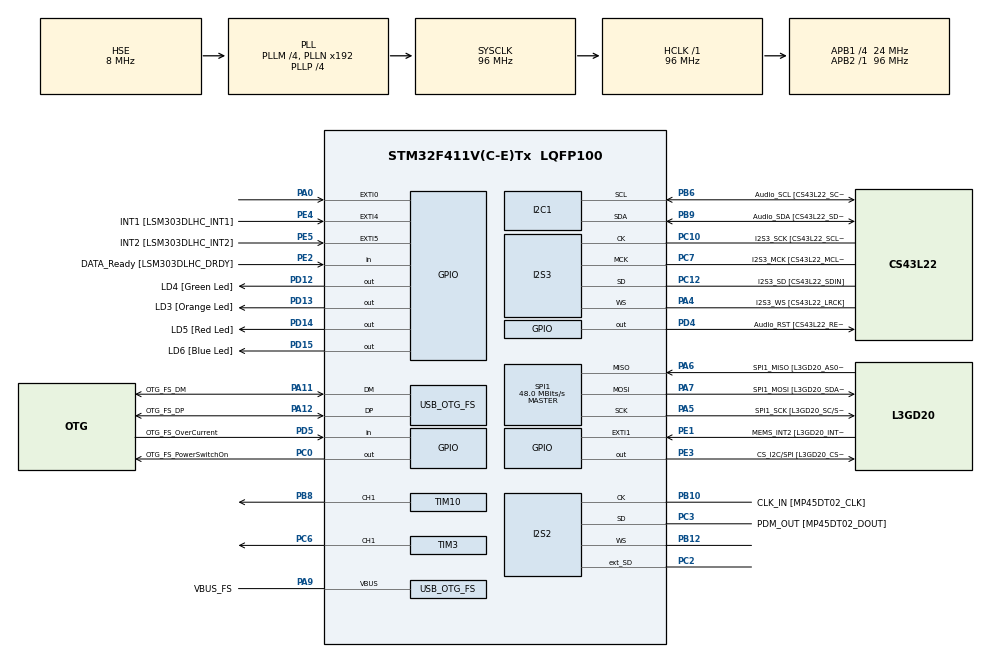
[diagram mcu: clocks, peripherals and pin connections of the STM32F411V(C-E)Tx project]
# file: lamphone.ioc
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I2S2.AudioFreq=I2S_AUDIOFREQ_96K
I2S2.ErrorAudioFreq=0.15 %
I2S2.FullDuplexMode=I2S_FULLDUPLEXMODE_ENABLE
I2S2.Instance=SPI$Index
I2S2.RealAudioFreq=96.153 KHz
I2S2.VirtualMode=I2S_MODE_MASTER
I2S3.AudioFreq=I2S_AUDIOFREQ_96K
I2S3.ErrorAudioFreq=-6.99 %
I2S3.FullDuplexMode=I2S_FULLDUPLEXMODE_DISABLE
I2S3.Instance=SPI$Index
I2S3.RealAudioFreq=89.285 KHz
I2S3.VirtualMode=I2S_MODE_MASTER
Mcu.Family=STM32F4
Mcu.Name=STM32F411V(C-E)Tx
Mcu.Package=LQFP100
NVIC.OTG_FS_IRQn=true\:0\:0\:false\:false\:true\:true\:true
NVIC.PriorityGroup=NVIC_PRIORITYGROUP_0
NVIC.TIM1_UP_TIM10_IRQn=true\:0\:0\:false\:false\:true\:true\:true
NVIC.TIM3_IRQn=true\:0\:0\:false\:false\:true\:true\:true
PA0-WKUP.GPIO_ModeDefaultEXTI=GPIO_MODE_EVT_RISING
PA0-WKUP.Signal=GPXTI0
PA10.GPIO_Label=OTG_FS_ID
PA10.Signal=USB_OTG_FS_ID
PA11.GPIO_Label=OTG_FS_DM
PA11.Mode=Host_Only
PA11.Signal=USB_OTG_FS_DM
PA12.GPIO_Label=OTG_FS_DP
PA12.Mode=Host_Only
PA12.Signal=USB_OTG_FS_DP
PA13.GPIO_Label=SWDIO
PA13.Mode=Serial_Wire
PA13.Signal=SYS_JTMS-SWDIO
PA14.GPIO_Label=SWCLK
PA14.Mode=Serial_Wire
PA14.Signal=SYS_JTCK-SWCLK
PA4.GPIO_Label=I2S3_WS [CS43L22_LRCK]
PA4.GPIO_Mode=GPIO_MODE_AF_PP
PA4.GPIO_PuPd=GPIO_NOPULL
PA4.GPIO_Speed=GPIO_SPEED_FREQ_LOW
PA4.Mode=Half_Duplex_Master
PA4.Signal=I2S3_WS
PA5.GPIO_Label=SPI1_SCK [L3GD20_SC/SPC]
PA5.Mode=Full_Duplex_Master
PA5.Signal=SPI1_SCK
PA6.GPIO_Label=SPI1_MISO [L3GD20_AS0/SDO]
PA6.Mode=Full_Duplex_Master
PA6.Signal=SPI1_MISO
PA7.GPIO_Label=SPI1_MOSI [L3GD20_SDA/SDI/SDO]
PA7.Mode=Full_Duplex_Master
PA7.Signal=SPI1_MOSI
PA9.GPIO_Label=VBUS_FS
PA9.Mode=Activate_VBUS
PA9.Signal=USB_OTG_FS_VBUS
PB10.GPIO_Label=CLK_IN [MP45DT02_CLK]
PB10.Mode=Full_Duplex_Master
PB10.Signal=I2S2_CK
PB12.Mode=Full_Duplex_Master
PB12.Signal=I2S2_WS
PB3.GPIO_Label=SWO
PB3.Signal=SYS_JTDO-SWO
PB6.GPIO_Label=Audio_SCL [CS43L22_SCL]
PB6.GPIO_Mode=GPIO_MODE_AF_OD
PB6.GPIO_PuPd=GPIO_NOPULL
PB6.GPIO_Speed=GPIO_SPEED_FREQ_LOW
PB6.Mode=I2C
PB6.Signal=I2C1_SCL
PB8.Signal=S_TIM10_CH1
PB9.GPIO_Label=Audio_SDA [CS43L22_SDA]
PB9.GPIO_Mode=GPIO_MODE_AF_OD
PB9.GPIO_PuPd=GPIO_NOPULL
PB9.GPIO_Speed=GPIO_SPEED_FREQ_LOW
PB9.Mode=I2C
PB9.Signal=I2C1_SDA
PC0.GPIO_Label=OTG_FS_PowerSwitchOn
PC0.PinState=GPIO_PIN_SET
PC0.Signal=GPIO_Output
PC10.GPIO_Label=I2S3_SCK [CS43L22_SCLK]
PC10.GPIO_Mode=GPIO_MODE_AF_PP
PC10.GPIO_PuPd=GPIO_NOPULL
PC10.GPIO_Speed=GPIO_SPEED_FREQ_LOW
PC10.Mode=Half_Duplex_Master
PC10.Signal=I2S3_CK
PC12.GPIO_Label=I2S3_SD [CS43L22_SDIN]
PC12.GPIO_Mode=GPIO_MODE_AF_PP
PC12.GPIO_PuPd=GPIO_NOPULL
PC12.GPIO_Speed=GPIO_SPEED_FREQ_LOW
PC12.Mode=Half_Duplex_Master
PC12.Signal=I2S3_SD
PC14-OSC32_IN.GPIO_Label=PC14-OSC32_IN
PC14-OSC32_IN.Mode=LSE-External-Oscillator
PC14-OSC32_IN.Signal=RCC_OSC32_IN
PC15-OSC32_OUT.GPIO_Label=PC15-OSC32_OUT
PC15-OSC32_OUT.Mode=LSE-External-Oscillator
PC15-OSC32_OUT.Signal=RCC_OSC32_OUT
PC2.Mode=Full_Duplex_Master
PC2.Signal=I2S2_ext_SD
PC3.GPIO_Label=PDM_OUT [MP45DT02_DOUT]
PC3.Mode=Full_Duplex_Master
PC3.Signal=I2S2_SD
PC6.Signal=S_TIM3_CH1
PC7.GPIO_Label=I2S3_MCK [CS43L22_MCLK]
PC7.GPIO_Mode=GPIO_MODE_AF_PP
PC7.GPIO_PuPd=GPIO_NOPULL
PC7.GPIO_Speed=GPIO_SPEED_FREQ_LOW
PC7.Mode=Master_Clock_Activated
PC7.Signal=I2S3_MCK
PD12.GPIO_Label=LD4 [Green Led]
PD12.GPIO_PuPd=GPIO_NOPULL
PD12.GPIO_Speed=GPIO_SPEED_FREQ_LOW
PD12.Signal=GPIO_Output
PD13.GPIO_Label=LD3 [Orange Led]
PD13.GPIO_PuPd=GPIO_NOPULL
PD13.GPIO_Speed=GPIO_SPEED_FREQ_LOW
PD13.Signal=GPIO_Output
PD14.GPIO_Label=LD5 [Red Led]
PD14.GPIO_PuPd=GPIO_NOPULL
PD14.GPIO_Speed=GPIO_SPEED_FREQ_LOW
PD14.Signal=GPIO_Output
PD15.GPIO_Label=LD6 [Blue Led]
PD15.GPIO_PuPd=GPIO_NOPULL
PD15.GPIO_Speed=GPIO_SPEED_FREQ_LOW
PD15.Signal=GPIO_Output
PD4.GPIO_Label=Audio_RST [CS43L22_RESET]
PD4.Signal=GPIO_Output
PD5.GPIO_Label=OTG_FS_OverCurrent
PD5.Signal=GPIO_Input
PE1.GPIO_Label=MEMS_INT2 [L3GD20_INT2]
PE1.GPIO_ModeDefaultEXTI=GPIO_MODE_EVT_RISING
PE1.Signal=GPXTI1
PE2.GPIO_Label=DATA_Ready [LSM303DLHC_DRDY]
PE2.Signal=GPIO_Input
PE3.GPIO_Label=CS_I2C/SPI [L3GD20_CS_I2C/SPI]
PE3.Signal=GPIO_Output
PE4.GPIO_Label=INT1 [LSM303DLHC_INT1]
PE4.GPIO_ModeDefaultEXTI=GPIO_MODE_EVT_RISING
PE4.Signal=GPXTI4
PE5.GPIO_Label=INT2 [LSM303DLHC_INT2]
PE5.GPIO_ModeDefaultEXTI=GPIO_MODE_EVT_RISING
PE5.Signal=GPXTI5
PH0\ -\ OSC_IN.GPIO_Label=PH0-OSC_IN
PH0\ -\ OSC_IN.Mode=HSE-External-Oscillator
PH0\ -\ OSC_IN.Signal=RCC_OSC_IN
PH1\ -\ OSC_OUT.GPIO_Label=PH1-OSC_OUT
PH1\ -\ OSC_OUT.Mode=HSE-External-Oscillator
PH1\ -\ OSC_OUT.Signal=RCC_OSC_OUT
ProjectManager.HeapSize=0x200
ProjectManager.StackSize=0x400
ProjectManager.TargetToolchain=STM32CubeIDE
RCC.48MHZClocksFreq_Value=48000000
RCC.AHBFreq_Value=96000000
RCC.APB1CLKDivider=RCC_HCLK_DIV4
RCC.APB1Freq_Value=24000000
RCC.APB1TimFreq_Value=48000000
RCC.APB2Freq_Value=96000000
RCC.APB2TimFreq_Value=96000000
RCC.CortexFreq_Value=96000000
RCC.HCLKFreq_Value=96000000
RCC.HSE_VALUE=8000000
RCC.HSI_VALUE=16000000
RCC.PLLI2SM=5
RCC.PLLI2SN=200
RCC.PLLM=4
RCC.PLLP=RCC_PLLP_DIV4
RCC.PLLQ=8
RCC.SYSCLKFreq_VALUE=96000000
RCC.SYSCLKSource=RCC_SYSCLKSOURCE_PLLCLK
RCC.VCOOutputFreq_Value=384000000
SH.S_TIM10_CH1.0=TIM10_CH1,PWM Generation1 CH1
SH.S_TIM3_CH1.0=TIM3_CH1,PWM Generation1 CH1
SPI1.BaudRatePrescaler=SPI_BAUDRATEPRESCALER_2
SPI1.CalculateBaudRate=48.0 MBits/s
SPI1.Direction=SPI_DIRECTION_2LINES
SPI1.Mode=SPI_MODE_MASTER
SPI1.VirtualType=VM_MASTER
TIM10.Channel=TIM_CHANNEL_1
TIM10.Period=10000
TIM10.Prescaler=95
TIM3.Channel-PWM\ Generation1\ CH1=TIM_CHANNEL_1
USB_HOST.BSP.number=1
USB_HOST.USBH_HandleTypeDef=hUsbHostFS
USB_HOST.VirtualModeFS=Cdc
USB_HOST0.BSP.STBoard=false
USB_HOST0.BSP.api=Unknown
USB_HOST0.BSP.i2caddr=0
USB_HOST0.BSP.i2creg=0
USB_HOST0.BSP.instance=PC0
USB_HOST0.BSP.ip=GPIO
USB_HOST0.BSP.mode=Output
USB_HOST0.BSP.name=Drive_VBUS_FS
USB_HOST0.BSP.solution=PC0
USB_OTG_FS.VirtualMode=Host_Only
USB_OTG_FS.phy_itface=HCD_PHY_EMBEDDED
VP_TIM10_VS_ClockSourceINT.Mode=Enable_Timer
VP_USB_HOST_VS_USB_HOST_CDC_FS.Mode=CDC_FS
board=STM32F411E-DISCO

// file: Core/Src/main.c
/* USER CODE BEGIN Header */
/**
  ******************************************************************************
  * @file           : main.c
  * @brief          : Main program body
  ******************************************************************************
  * @attention
  *
  * <h2><center>&copy; Copyright (c) 2020 STMicroelectronics.
  * All rights reserved.</center></h2>
  *
  * This software component is licensed by ST under Ultimate Liberty license
  * SLA0044, the "License"; You may not use this file except in compliance with
  * the License. You may obtain a copy of the License at:
  *                             www.st.com/SLA0044
  *
  ******************************************************************************
  */
/* USER CODE END Header */
#include "main.h"
#include "usb_host.h"

I2C_HandleTypeDef hi2c1;

I2S_HandleTypeDef hi2s2;
I2S_HandleTypeDef hi2s3;

SPI_HandleTypeDef hspi1;

TIM_HandleTypeDef htim3;
TIM_HandleTypeDef htim10;

void SystemClock_Config(void);
static void MX_GPIO_Init(void);
static void MX_I2C1_Init(void);
static void MX_I2S2_Init(void);
static void MX_I2S3_Init(void);
static void MX_SPI1_Init(void);
static void MX_TIM3_Init(void);
static void MX_TIM10_Init(void);
void MX_USB_HOST_Process(void);

/* USER CODE BEGIN PFP */
uint32_t get_light(int lower_bound, int upper_bound, uint32_t freq, double t);

/* USER CODE END PFP */

/* USER CODE BEGIN 0 */

#define M_PI 3.14159265358979323846

int _write(int file, char *ptr, int len){
  int i = 0;
  for (i=0; i<len; i++){
    ITM_SendChar((*ptr++));
  }
  return len;
}

// Timers
volatile uint32_t tim10_overflows = 0;

void HAL_TIM_PeriodElapsedCallback(TIM_HandleTypeDef *htim)
{
  if ( htim->Instance == TIM10 )
  {
    ++tim10_overflows;
  }
}

void TIM10_reinit()
{
 HAL_TIM_Base_Stop(&htim10);
 __HAL_TIM_SET_PRESCALER( &htim10, (96-1) );
 __HAL_TIM_SET_COUNTER( &htim10, 0 );
 tim10_overflows = 0;
 HAL_TIM_Base_Start_IT(&htim10);
}

uint32_t get_tim10_us()
{
 __HAL_TIM_DISABLE_IT(&htim10, TIM_IT_UPDATE); //! Дуже важливо!
 //__disable_irq();
 uint32_t res = tim10_overflows * 10000 + __HAL_TIM_GET_COUNTER(&htim10);
 //__enable_irq();
 __HAL_TIM_ENABLE_IT(&htim10, TIM_IT_UPDATE);
 return res;
}

void udelay_TIM10(uint32_t useconds) {
 uint32_t before = get_tim10_us();
 while( get_tim10_us() < before+useconds){}
}

uint32_t get_light(int lower_bound, int upper_bound, uint32_t freq, double t){
    return (uint32_t)(lower_bound + (upper_bound - lower_bound)*(sin(freq * 2 * M_PI * t) + 1)/2);
}

/* USER CODE END 0 */

int main(void)
{

  /* MCU Configuration--------------------------------------------------------*/

  /* Reset of all peripherals, Initializes the Flash interface and the Systick. */
  HAL_Init();

  /* Configure the system clock */
  SystemClock_Config();

  /* Initialize all configured peripherals */
  MX_GPIO_Init();
  MX_I2C1_Init();
  MX_I2S2_Init();
  MX_I2S3_Init();
  MX_SPI1_Init();
  MX_USB_HOST_Init();
  MX_TIM3_Init();
  MX_TIM10_Init();

  /* Infinite loop */
  /* USER CODE BEGIN WHILE */
  HAL_TIM_PWM_Start(&htim3, TIM_CHANNEL_1);

  TIM10_reinit();

  int lower_bound = 0;
  int upper_bound = 60000;
  uint32_t time = 0;
  uint32_t time_dif = 0;

  uint32_t freq = 1;
//  time = get_tim10_us() * 1000000;
  uint32_t start = get_tim10_us();
  double time_seconds = 0;
  while (1)
  {
//    time = get_tim10_us();
    TIM3->CCR1 = 0;
    HAL_Delay(1000);
    TIM3->CCR1 = 60000;
    HAL_Delay(1000);

//    while ((get_tim10_us() - time) < 1000000){
//      time_seconds = (get_tim10_us() - time);
//      TIM3->CCR1 = (lower_bound + (upper_bound - lower_bound)*(sin(freq * 2 * M_PI * time_seconds) + 1)/2);
//    }

//  generate_freq(lower_bound, upper_bound, 1);
//    TIM3->CCR1 = get_light(lower_bound, upper_bound, freq, time);

    /* USER CODE END WHILE */
    MX_USB_HOST_Process();

  }
}

void SystemClock_Config(void)
{
  RCC_OscInitTypeDef RCC_OscInitStruct = {0};
  RCC_ClkInitTypeDef RCC_ClkInitStruct = {0};
  RCC_PeriphCLKInitTypeDef PeriphClkInitStruct = {0};

  /** Configure the main internal regulator output voltage
  */
  __HAL_RCC_PWR_CLK_ENABLE();
  __HAL_PWR_VOLTAGESCALING_CONFIG(PWR_REGULATOR_VOLTAGE_SCALE1);
  /** Initializes the RCC Oscillators according to the specified parameters
  * in the RCC_OscInitTypeDef structure.
  */
  RCC_OscInitStruct.OscillatorType = RCC_OSCILLATORTYPE_HSE;
  RCC_OscInitStruct.HSEState = RCC_HSE_ON;
  RCC_OscInitStruct.PLL.PLLState = RCC_PLL_ON;
  RCC_OscInitStruct.PLL.PLLSource = RCC_PLLSOURCE_HSE;
  RCC_OscInitStruct.PLL.PLLM = 4;
  RCC_OscInitStruct.PLL.PLLN = 192;
  RCC_OscInitStruct.PLL.PLLP = RCC_PLLP_DIV4;
  RCC_OscInitStruct.PLL.PLLQ = 8;
  if (HAL_RCC_OscConfig(&RCC_OscInitStruct) != HAL_OK)
  {
    Error_Handler();
  }
  /** Initializes the CPU, AHB and APB buses clocks
  */
  RCC_ClkInitStruct.ClockType = RCC_CLOCKTYPE_HCLK|RCC_CLOCKTYPE_SYSCLK
                              |RCC_CLOCKTYPE_PCLK1|RCC_CLOCKTYPE_PCLK2;
  RCC_ClkInitStruct.SYSCLKSource = RCC_SYSCLKSOURCE_PLLCLK;
  RCC_ClkInitStruct.AHBCLKDivider = RCC_SYSCLK_DIV1;
  RCC_ClkInitStruct.APB1CLKDivider = RCC_HCLK_DIV4;
  RCC_ClkInitStruct.APB2CLKDivider = RCC_HCLK_DIV1;

  if (HAL_RCC_ClockConfig(&RCC_ClkInitStruct, FLASH_LATENCY_3) != HAL_OK)
  {
    Error_Handler();
  }
  PeriphClkInitStruct.PeriphClockSelection = RCC_PERIPHCLK_I2S;
  PeriphClkInitStruct.PLLI2S.PLLI2SN = 200;
  PeriphClkInitStruct.PLLI2S.PLLI2SM = 5;
  PeriphClkInitStruct.PLLI2S.PLLI2SR = 2;
  if (HAL_RCCEx_PeriphCLKConfig(&PeriphClkInitStruct) != HAL_OK)
  {
    Error_Handler();
  }
}

static void MX_I2C1_Init(void)
{

  hi2c1.Instance = I2C1;
  hi2c1.Init.ClockSpeed = 100000;
  hi2c1.Init.DutyCycle = I2C_DUTYCYCLE_2;
  hi2c1.Init.OwnAddress1 = 0;
  hi2c1.Init.AddressingMode = I2C_ADDRESSINGMODE_7BIT;
  hi2c1.Init.DualAddressMode = I2C_DUALADDRESS_DISABLE;
  hi2c1.Init.OwnAddress2 = 0;
  hi2c1.Init.GeneralCallMode = I2C_GENERALCALL_DISABLE;
  hi2c1.Init.NoStretchMode = I2C_NOSTRETCH_DISABLE;
  if (HAL_I2C_Init(&hi2c1) != HAL_OK)
  {
    Error_Handler();
  }

}

static void MX_I2S2_Init(void)
{

  hi2s2.Instance = SPI2;
  hi2s2.Init.Mode = I2S_MODE_MASTER_TX;
  hi2s2.Init.Standard = I2S_STANDARD_PHILIPS;
  hi2s2.Init.DataFormat = I2S_DATAFORMAT_16B;
  hi2s2.Init.MCLKOutput = I2S_MCLKOUTPUT_DISABLE;
  hi2s2.Init.AudioFreq = I2S_AUDIOFREQ_96K;
  hi2s2.Init.CPOL = I2S_CPOL_LOW;
  hi2s2.Init.ClockSource = I2S_CLOCK_PLL;
  hi2s2.Init.FullDuplexMode = I2S_FULLDUPLEXMODE_ENABLE;
  if (HAL_I2S_Init(&hi2s2) != HAL_OK)
  {
    Error_Handler();
  }

}

static void MX_I2S3_Init(void)
{

  hi2s3.Instance = SPI3;
  hi2s3.Init.Mode = I2S_MODE_MASTER_TX;
  hi2s3.Init.Standard = I2S_STANDARD_PHILIPS;
  hi2s3.Init.DataFormat = I2S_DATAFORMAT_16B;
  hi2s3.Init.MCLKOutput = I2S_MCLKOUTPUT_ENABLE;
  hi2s3.Init.AudioFreq = I2S_AUDIOFREQ_96K;
  hi2s3.Init.CPOL = I2S_CPOL_LOW;
  hi2s3.Init.ClockSource = I2S_CLOCK_PLL;
  hi2s3.Init.FullDuplexMode = I2S_FULLDUPLEXMODE_DISABLE;
  if (HAL_I2S_Init(&hi2s3) != HAL_OK)
  {
    Error_Handler();
  }

}

static void MX_SPI1_Init(void)
{

  /* SPI1 parameter configuration*/
  hspi1.Instance = SPI1;
  hspi1.Init.Mode = SPI_MODE_MASTER;
  hspi1.Init.Direction = SPI_DIRECTION_2LINES;
  hspi1.Init.DataSize = SPI_DATASIZE_8BIT;
  hspi1.Init.CLKPolarity = SPI_POLARITY_LOW;
  hspi1.Init.CLKPhase = SPI_PHASE_1EDGE;
  hspi1.Init.NSS = SPI_NSS_SOFT;
  hspi1.Init.BaudRatePrescaler = SPI_BAUDRATEPRESCALER_2;
  hspi1.Init.FirstBit = SPI_FIRSTBIT_MSB;
  hspi1.Init.TIMode = SPI_TIMODE_DISABLE;
  hspi1.Init.CRCCalculation = SPI_CRCCALCULATION_DISABLE;
  hspi1.Init.CRCPolynomial = 10;
  if (HAL_SPI_Init(&hspi1) != HAL_OK)
  {
    Error_Handler();
  }

}

static void MX_TIM3_Init(void)
{

  TIM_MasterConfigTypeDef sMasterConfig = {0};
  TIM_OC_InitTypeDef sConfigOC = {0};

  htim3.Instance = TIM3;
  htim3.Init.Prescaler = 0;
  htim3.Init.CounterMode = TIM_COUNTERMODE_UP;
  htim3.Init.Period = 65535;
  htim3.Init.ClockDivision = TIM_CLOCKDIVISION_DIV1;
  htim3.Init.AutoReloadPreload = TIM_AUTORELOAD_PRELOAD_DISABLE;
  if (HAL_TIM_PWM_Init(&htim3) != HAL_OK)
  {
    Error_Handler();
  }
  sMasterConfig.MasterOutputTrigger = TIM_TRGO_RESET;
  sMasterConfig.MasterSlaveMode = TIM_MASTERSLAVEMODE_DISABLE;
  if (HAL_TIMEx_MasterConfigSynchronization(&htim3, &sMasterConfig) != HAL_OK)
  {
    Error_Handler();
  }
  sConfigOC.OCMode = TIM_OCMODE_PWM1;
  sConfigOC.Pulse = 0;
  sConfigOC.OCPolarity = TIM_OCPOLARITY_HIGH;
  sConfigOC.OCFastMode = TIM_OCFAST_DISABLE;
  if (HAL_TIM_PWM_ConfigChannel(&htim3, &sConfigOC, TIM_CHANNEL_1) != HAL_OK)
  {
    Error_Handler();
  }
  HAL_TIM_MspPostInit(&htim3);

}

static void MX_TIM10_Init(void)
{

  TIM_OC_InitTypeDef sConfigOC = {0};

  htim10.Instance = TIM10;
  htim10.Init.Prescaler = 95;
  htim10.Init.CounterMode = TIM_COUNTERMODE_UP;
  htim10.Init.Period = 10000;
  htim10.Init.ClockDivision = TIM_CLOCKDIVISION_DIV1;
  htim10.Init.AutoReloadPreload = TIM_AUTORELOAD_PRELOAD_DISABLE;
  if (HAL_TIM_Base_Init(&htim10) != HAL_OK)
  {
    Error_Handler();
  }
  if (HAL_TIM_PWM_Init(&htim10) != HAL_OK)
  {
    Error_Handler();
  }
  sConfigOC.OCMode = TIM_OCMODE_PWM1;
  sConfigOC.Pulse = 0;
  sConfigOC.OCPolarity = TIM_OCPOLARITY_HIGH;
  sConfigOC.OCFastMode = TIM_OCFAST_DISABLE;
  if (HAL_TIM_PWM_ConfigChannel(&htim10, &sConfigOC, TIM_CHANNEL_1) != HAL_OK)
  {
    Error_Handler();
  }
  HAL_TIM_MspPostInit(&htim10);

}

static void MX_GPIO_Init(void)
{
  GPIO_InitTypeDef GPIO_InitStruct = {0};

  /* GPIO Ports Clock Enable */
  __HAL_RCC_GPIOE_CLK_ENABLE();
  __HAL_RCC_GPIOC_CLK_ENABLE();
  __HAL_RCC_GPIOH_CLK_ENABLE();
  __HAL_RCC_GPIOA_CLK_ENABLE();
  __HAL_RCC_GPIOB_CLK_ENABLE();
  __HAL_RCC_GPIOD_CLK_ENABLE();

  /*Configure GPIO pin Output Level */
  HAL_GPIO_WritePin(CS_I2C_SPI_GPIO_Port, CS_I2C_SPI_Pin, GPIO_PIN_RESET);

  /*Configure GPIO pin Output Level */
  HAL_GPIO_WritePin(OTG_FS_PowerSwitchOn_GPIO_Port, OTG_FS_PowerSwitchOn_Pin, GPIO_PIN_SET);

  /*Configure GPIO pin Output Level */
  HAL_GPIO_WritePin(GPIOD, LD4_Pin|LD3_Pin|LD5_Pin|LD6_Pin
                          |Audio_RST_Pin, GPIO_PIN_RESET);

  /*Configure GPIO pin : DATA_Ready_Pin */
  GPIO_InitStruct.Pin = DATA_Ready_Pin;
  GPIO_InitStruct.Mode = GPIO_MODE_INPUT;
  GPIO_InitStruct.Pull = GPIO_NOPULL;
  HAL_GPIO_Init(DATA_Ready_GPIO_Port, &GPIO_InitStruct);

  /*Configure GPIO pin : CS_I2C_SPI_Pin */
  GPIO_InitStruct.Pin = CS_I2C_SPI_Pin;
  GPIO_InitStruct.Mode = GPIO_MODE_OUTPUT_PP;
  GPIO_InitStruct.Pull = GPIO_NOPULL;
  GPIO_InitStruct.Speed = GPIO_SPEED_FREQ_LOW;
  HAL_GPIO_Init(CS_I2C_SPI_GPIO_Port, &GPIO_InitStruct);

  /*Configure GPIO pins : INT1_Pin INT2_Pin MEMS_INT2_Pin */
  GPIO_InitStruct.Pin = INT1_Pin|INT2_Pin|MEMS_INT2_Pin;
  GPIO_InitStruct.Mode = GPIO_MODE_EVT_RISING;
  GPIO_InitStruct.Pull = GPIO_NOPULL;
  HAL_GPIO_Init(GPIOE, &GPIO_InitStruct);

  /*Configure GPIO pin : OTG_FS_PowerSwitchOn_Pin */
  GPIO_InitStruct.Pin = OTG_FS_PowerSwitchOn_Pin;
  GPIO_InitStruct.Mode = GPIO_MODE_OUTPUT_PP;
  GPIO_InitStruct.Pull = GPIO_NOPULL;
  GPIO_InitStruct.Speed = GPIO_SPEED_FREQ_LOW;
  HAL_GPIO_Init(OTG_FS_PowerSwitchOn_GPIO_Port, &GPIO_InitStruct);

  /*Configure GPIO pin : PA0 */
  GPIO_InitStruct.Pin = GPIO_PIN_0;
  GPIO_InitStruct.Mode = GPIO_MODE_EVT_RISING;
  GPIO_InitStruct.Pull = GPIO_NOPULL;
  HAL_GPIO_Init(GPIOA, &GPIO_InitStruct);

  /*Configure GPIO pins : LD4_Pin LD3_Pin LD5_Pin LD6_Pin
                           Audio_RST_Pin */
  GPIO_InitStruct.Pin = LD4_Pin|LD3_Pin|LD5_Pin|LD6_Pin
                          |Audio_RST_Pin;
  GPIO_InitStruct.Mode = GPIO_MODE_OUTPUT_PP;
  GPIO_InitStruct.Pull = GPIO_NOPULL;
  GPIO_InitStruct.Speed = GPIO_SPEED_FREQ_LOW;
  HAL_GPIO_Init(GPIOD, &GPIO_InitStruct);

  /*Configure GPIO pin : OTG_FS_OverCurrent_Pin */
  GPIO_InitStruct.Pin = OTG_FS_OverCurrent_Pin;
  GPIO_InitStruct.Mode = GPIO_MODE_INPUT;
  GPIO_InitStruct.Pull = GPIO_NOPULL;
  HAL_GPIO_Init(OTG_FS_OverCurrent_GPIO_Port, &GPIO_InitStruct);

}

void Error_Handler(void)
{
  __disable_irq();
  while (1)
  {
  }
}

/************************ (C) COPYRIGHT STMicroelectronics *****END OF FILE****/
